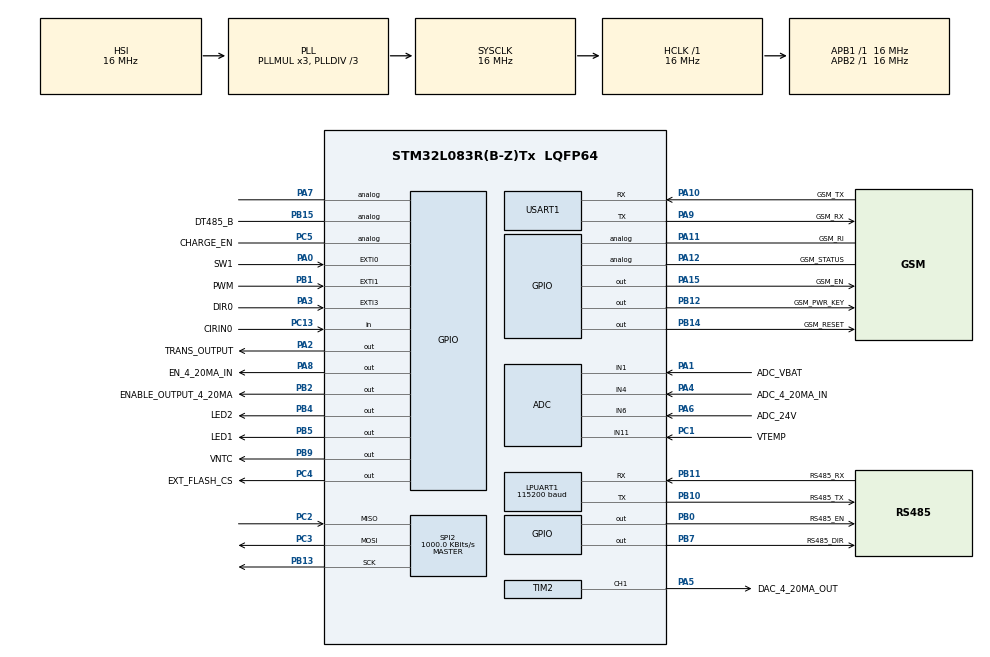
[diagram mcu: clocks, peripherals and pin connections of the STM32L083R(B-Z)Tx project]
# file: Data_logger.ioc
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ADC.ClockPrescaler=ADC_CLOCK_ASYNC_DIV10
ADC.EOCSelection=ADC_EOC_SINGLE_CONV
ADC.LowPowerAutoPowerOff=DISABLE
ADC.LowPowerFrequencyMode=ENABLE
ADC.SamplingTime=ADC_SAMPLETIME_160CYCLES_5
Dma.Request0=USART1_RX
Dma.Request1=USART1_TX
Dma.USART1_RX.0.Direction=DMA_PERIPH_TO_MEMORY
Dma.USART1_RX.0.Instance=DMA1_Channel3
Dma.USART1_RX.0.MemDataAlignment=DMA_MDATAALIGN_BYTE
Dma.USART1_RX.0.MemInc=DMA_MINC_ENABLE
Dma.USART1_RX.0.Mode=DMA_CIRCULAR
Dma.USART1_RX.0.PeriphDataAlignment=DMA_PDATAALIGN_BYTE
Dma.USART1_RX.0.PeriphInc=DMA_PINC_DISABLE
Dma.USART1_RX.0.Priority=DMA_PRIORITY_HIGH
Dma.USART1_TX.1.Direction=DMA_MEMORY_TO_PERIPH
Dma.USART1_TX.1.Instance=DMA1_Channel2
Dma.USART1_TX.1.MemDataAlignment=DMA_MDATAALIGN_BYTE
Dma.USART1_TX.1.MemInc=DMA_MINC_ENABLE
Dma.USART1_TX.1.Mode=DMA_NORMAL
Dma.USART1_TX.1.PeriphDataAlignment=DMA_PDATAALIGN_BYTE
Dma.USART1_TX.1.PeriphInc=DMA_PINC_DISABLE
Dma.USART1_TX.1.Priority=DMA_PRIORITY_HIGH
IWDG.Prescaler=IWDG_PRESCALER_256
LPUART1.BaudRate=115200
LPUART1.WordLength=UART_WORDLENGTH_8B
Mcu.Family=STM32L0
Mcu.Name=STM32L083R(B-Z)Tx
Mcu.Package=LQFP64
NVIC.ADC1_COMP_IRQn=true\:0\:0\:false\:false\:true\:true\:true
NVIC.AES_RNG_LPUART1_IRQn=true\:0\:0\:false\:false\:true\:true\:true
NVIC.DMA1_Channel2_3_IRQn=true\:0\:0\:false\:false\:true\:false\:true
NVIC.EXTI0_1_IRQn=true\:0\:0\:false\:false\:true\:true\:true
NVIC.EXTI2_3_IRQn=true\:0\:0\:false\:false\:true\:true\:true
NVIC.RTC_IRQn=true\:0\:0\:false\:false\:true\:true\:true
NVIC.SPI2_IRQn=true\:0\:0\:false\:false\:true\:true\:true
NVIC.USART1_IRQn=true\:0\:0\:false\:false\:true\:true\:true
PA0.GPIO_Label=SW1
PA0.Signal=GPXTI0
PA1.GPIO_Label=ADC_VBAT
PA1.Mode=IN1
PA1.Signal=ADC_IN1
PA10.GPIO_Label=GSM_TX
PA10.Mode=Asynchronous
PA10.Signal=USART1_RX
PA11.GPIO_Label=GSM_RI
PA11.Signal=GPIO_Analog
PA12.GPIO_Label=GSM_STATUS
PA12.Signal=GPIO_Analog
PA13.Mode=Serial_Wire
PA13.Signal=SYS_SWDIO
PA14.Mode=Serial_Wire
PA14.Signal=SYS_SWCLK
PA15.GPIO_Label=GSM_EN
PA15.Signal=GPIO_Output
PA2.GPIO_Label=TRANS_OUTPUT
PA2.Signal=GPIO_Output
PA3.GPIO_Label=DIR0
PA3.GPIO_ModeDefaultEXTI=GPIO_MODE_IT_RISING_FALLING
PA3.GPIO_PuPd=GPIO_NOPULL
PA3.Signal=GPXTI3
PA4.GPIO_Label=ADC_4_20MA_IN
PA4.Signal=SharedAnalog_PA4
PA5.GPIO_Label=DAC_4_20MA_OUT
PA5.Signal=S_TIM2_CH1
PA6.GPIO_Label=ADC_24V
PA6.Signal=SharedAnalog_PA6
PA7.Signal=GPIO_Analog
PA8.GPIO_Label=EN_4_20MA_IN
PA8.PinState=GPIO_PIN_SET
PA8.Signal=GPIO_Output
PA9.GPIO_Label=GSM_RX
PA9.Mode=Asynchronous
PA9.Signal=USART1_TX
PB0.GPIO_Label=RS485_EN
PB0.Signal=GPIO_Output
PB1.GPIO_Label=PWM
PB1.GPIO_ModeDefaultEXTI=GPIO_MODE_IT_RISING_FALLING
PB1.Signal=GPXTI1
PB10.GPIO_Label=RS485_TX
PB10.Mode=Asynchronous
PB10.Signal=LPUART1_TX
PB11.GPIO_Label=RS485_RX
PB11.Mode=Asynchronous
PB11.Signal=LPUART1_RX
PB12.GPIO_Label=GSM_PWR_KEY
PB12.Signal=GPIO_Output
PB13.Mode=Full_Duplex_Master
PB13.Signal=SPI2_SCK
PB14.GPIO_Label=GSM_RESET
PB14.Signal=GPIO_Output
PB15.GPIO_Label=DT485_B
PB15.Signal=GPIO_Analog
PB2.GPIO_Label=ENABLE_OUTPUT_4_20MA
PB2.Signal=GPIO_Output
PB4.GPIO_Label=LED2
PB4.Signal=GPIO_Output
PB5.GPIO_Label=LED1
PB5.Signal=GPIO_Output
PB7.GPIO_Label=RS485_DIR
PB7.Signal=GPIO_Output
PB9.GPIO_Label=VNTC
PB9.GPIO_PuPd=GPIO_PULLDOWN
PB9.Signal=GPIO_Output
PC1.GPIO_Label=VTEMP
PC1.Mode=IN11
PC1.Signal=ADC_IN11
PC13.GPIO_Label=CIRIN0
PC13.Signal=GPIO_Input
PC14-OSC32_IN.Mode=LSE-External-Oscillator
PC14-OSC32_IN.Signal=RCC_OSC32_IN
PC15-OSC32_OUT.Mode=LSE-External-Oscillator
PC15-OSC32_OUT.Signal=RCC_OSC32_OUT
PC2.Mode=Full_Duplex_Master
PC2.Signal=SPI2_MISO
PC3.Mode=Full_Duplex_Master
PC3.Signal=SPI2_MOSI
PC4.GPIO_Label=EXT_FLASH_CS
PC4.GPIO_PuPd=GPIO_NOPULL
PC4.GPIO_Speed=GPIO_SPEED_FREQ_VERY_HIGH
PC4.PinState=GPIO_PIN_SET
PC4.Signal=GPIO_Output
PC5.GPIO_Label=CHARGE_EN
PC5.Signal=GPIO_Analog
ProjectManager.HeapSize=0x200
ProjectManager.StackSize=0x400
ProjectManager.TargetToolchain=MDK-ARM V5.27
RCC.AHBFreq_Value=16000000
RCC.APB1Freq_Value=16000000
RCC.APB1TimFreq_Value=16000000
RCC.APB2Freq_Value=16000000
RCC.APB2TimFreq_Value=16000000
RCC.HCLKFreq_Value=16000000
RCC.HSE_VALUE=8000000
RCC.HSI16_VALUE=16000000
RCC.HSI48_VALUE=48000000
RCC.HSI_VALUE=16000000
RCC.MSIClockRange=RCC_MSIRANGE_6
RCC.MSI_VALUE=4194000
RCC.PLLDIV=RCC_PLLDIV_3
RCC.RTCClockSelectionVirtual=RCC_RTCCLKSOURCE_LSE
RCC.SYSCLKFreq_VALUE=16000000
RCC.SYSCLKSource=RCC_SYSCLKSOURCE_PLLCLK
RCC.VCOOutputFreq_Value=48000000
RTC.SynchPrediv=255
RTC.WakeUpClock-WakeUp=RTC_WAKEUPCLOCK_RTCCLK_DIV16
RTC.WakeUpCounter-WakeUp=18
SH.S_TIM2_CH1.0=TIM2_CH1,PWM Generation1 CH1
SH.SharedAnalog_PA4.0=GPIO_Analog
SH.SharedAnalog_PA4.1=ADC_IN4,IN4
SH.SharedAnalog_PA6.0=GPIO_Analog
SH.SharedAnalog_PA6.1=ADC_IN6,IN6
SPI2.BaudRatePrescaler=SPI_BAUDRATEPRESCALER_16
SPI2.CalculateBaudRate=1000.0 KBits/s
SPI2.Direction=SPI_DIRECTION_2LINES
SPI2.Mode=SPI_MODE_MASTER
SPI2.VirtualType=VM_MASTER
TIM2.AutoReloadPreload=TIM_AUTORELOAD_PRELOAD_ENABLE
TIM2.Channel-PWM\ Generation1\ CH1=TIM_CHANNEL_1
TIM2.ClockDivision=TIM_CLOCKDIVISION_DIV1
TIM2.Period=4095
TIM2.Prescaler=1
TIM2.Pulse-PWM\ Generation1\ CH1=0
USART1.VirtualMode-Asynchronous=VM_ASYNC
VP_ADC_TempSens_Input.Mode=IN-TempSens
VP_ADC_Vref_Input.Mode=IN-Vrefint
VP_IWDG_VS_IWDG.Mode=IWDG_Activate
VP_RTC_VS_RTC_Activate.Mode=RTC_Enabled
VP_RTC_VS_RTC_Calendar.Mode=RTC_Calendar
VP_RTC_VS_RTC_WakeUp_intern.Mode=WakeUp
VP_TIM2_VS_ClockSourceINT.Mode=Internal
board=custom

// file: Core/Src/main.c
/* USER CODE BEGIN Header */
/**
  ******************************************************************************
  * @file           : main.c
  * @brief          : Main program body
  ******************************************************************************
  * @attention
  *
  * <h2><center>&copy; Copyright (c) 2021 STMicroelectronics.
  * All rights reserved.</center></h2>
  *
  * This software component is licensed by ST under BSD 3-Clause license,
  * the "License"; You may not use this file except in compliance with the
  * License. You may obtain a copy of the License at:
  *                        opensource.org/licenses/BSD-3-Clause
  *
  ******************************************************************************
  */
/* USER CODE END Header */
#include "main.h"
#include "adc.h"
#include "dma.h"
#include "iwdg.h"
#include "usart.h"
#include "rtc.h"
#include "spi.h"
#include "tim.h"
#include "gpio.h"

/* USER CODE BEGIN Includes */
#include "app_eeprom.h"
#include "measure_input.h"
#include "lpf.h"
#include "stdbool.h"
#include "app_cli.h"
#include "app_wdt.h"
#include "app_sync.h"
#include "hardware_manager.h"
#include "app_bkup.h"
#include "control_output.h"
#include "gsm.h"
#include "hardware.h"
#include "modbus_master.h"
#include "string.h"
#include "sys_ctx.h"
#include "app_rtc.h"
#include "app_debug.h"
#include "app_spi_flash.h"
#include "ota_update.h"
#include "flash_if.h"
#include "version_control.h"
/* USER CODE END Includes */

/* USER CODE BEGIN PTD */
#define WAKEUP_RESET_WDT_IN_LOW_POWER_MODE            20000     // ( ~18s)
#define DEBUG_LOW_POWER                                 0
#define DISABLE_GPIO_ENTER_LOW_POWER_MODE               0
#define TEST_POWER_ALWAYS_TURN_OFF_GSM                  0
#define TEST_OUTPUT_4_20MA                              0
/* USER CODE END PTD */

/* USER CODE BEGIN PD */
#define GSM_ENABLE					1
/* USER CODE END PD */

void SystemClock_Config(void);

/* USER CODE BEGIN 0 */
/* memory for ummalloc */
uint8_t g_umm_heap[UMM_MALLOC_CFG_HEAP_SIZE];
static volatile uint32_t m_delay_afer_wakeup_from_deep_sleep_to_measure_data;
static void task_feed_wdt(void *arg);
static void gsm_mnr_task(void *arg);
static void info_task(void *arg);
volatile uint32_t led_blink_delay = 0;
void sys_config_low_power_mode(void);
#warning "Please handle sensor msg full"
/* USER CODE END 0 */

int main(void)
{
  /* USER CODE BEGIN 1 */

	hardware_manager_get_reset_reason();
  /* USER CODE END 1 */

  /* MCU Configuration--------------------------------------------------------*/

  /* Reset of all peripherals, Initializes the Flash interface and the Systick. */
  HAL_Init();

  /* Configure the system clock */
  SystemClock_Config();

  /* USER CODE BEGIN SysInit */
    __enable_irq();
#if 1
  /* USER CODE END SysInit */

  /* Initialize all configured peripherals */
  MX_GPIO_Init();
  MX_DMA_Init();
  MX_IWDG_Init();
  MX_RTC_Init();
  MX_ADC_Init();
  MX_USART1_UART_Init();
  MX_LPUART1_UART_Init();
  MX_SPI2_Init();
  MX_TIM2_Init();
  /* USER CODE BEGIN 2 */
#endif
//	HAL_ADC
    __HAL_DBGMCU_FREEZE_IWDG();     // stop watchdog in debug mode

	DEBUG_RAW(RTT_CTRL_CLEAR);
    sys_ctx_t *system = sys_ctx();
    system->peripheral_running.name.flash_running = 1;
    system->peripheral_running.name.rs485_running = 1;
	app_cli_start();
	app_bkup_init();
    app_eeprom_init();
    app_spi_flash_initialize();
	measure_input_initialize();
	control_ouput_init();
	adc_start();
	gsm_init_hw();

	app_sync_config_t config;
	config.get_ms = sys_get_ms;
	config.polling_interval_ms = 1;
	app_sync_sytem_init(&config);

	app_sync_register_callback(task_feed_wdt, 15000, SYNC_DRV_REPEATED, SYNC_DRV_SCOPE_IN_LOOP);
	app_sync_register_callback(gsm_mnr_task, 1000, SYNC_DRV_REPEATED, SYNC_DRV_SCOPE_IN_LOOP);
	app_sync_register_callback(info_task, 1000, SYNC_DRV_REPEATED, SYNC_DRV_SCOPE_IN_LOOP);
	app_eeprom_config_data_t *cfg = app_eeprom_read_config_data();

    ota_flash_cfg_t *ota_cfg = ota_update_get_config();
#if TEST_OUTPUT_4_20MA
	cfg->io_enable.name.output_4_20ma_enable = 1;
	cfg->io_enable.name.output_4_20ma_value = 10;
	cfg->io_enable.name.output_4_20ma_timeout_100ms = 100;
	control_output_dac_enable(1000000);
    system->status.is_enter_test_mode = 1;
    cfg->io_enable.name.input_4_20ma_enable = 1;
#endif
    DEBUG_PRINTF("Build %s %s, version %s\r\nOTA flag 0x%08X, info %s\r\n", __DATE__, __TIME__,
                                                                            VERSION_CONTROL_FW,
                                                                            ota_cfg->flag, (uint8_t*)ota_cfg->reserve);
  LED1(1);
  /* USER CODE END 2 */

  /* Infinite loop */
  /* USER CODE BEGIN WHILE */
  while (1)
  {
#if GSM_ENABLE
	gsm_hw_layer_run();
#endif

#if TEST_POWER_ALWAYS_TURN_OFF_GSM
    if (!gsm_data_layer_is_module_sleeping())
    {
        gsm_change_state(GSM_STATE_SLEEP);
    }
#endif
	control_ouput_task();
	measure_input_task();
	app_cli_poll();
	app_sync_polling_task();
	if (led_blink_delay)
	{
		LED1(1);
		LED2(1);
	}
	else
	{
		LED1(0);
		LED2(0);
	}

	if (system->status.is_enter_test_mode)
	{
		cfg->io_enable.name.output_4_20ma_enable = 1;
		if (cfg->io_enable.name.output_4_20ma_value == 0)
			cfg->io_enable.name.output_4_20ma_value = 10;
		cfg->io_enable.name.output_4_20ma_timeout_100ms = 100;
		control_output_dac_enable(1000000);
		cfg->io_enable.name.rs485_en = 1;
		ENABLE_INOUT_4_20MA_POWER(1);
	}

    if (!cfg->io_enable.name.rs485_en)
    {
        system->peripheral_running.name.rs485_running = 0;
        usart_lpusart_485_control(0);
    }

    if (!cfg->io_enable.name.input_4_20ma_enable)
    {
        ENABLE_INOUT_4_20MA_POWER(0);
    }

    if (gsm_data_layer_is_module_sleeping())
    {
        system->peripheral_running.name.gsm_running = 0;
        if (system->peripheral_running.name.flash_running)
        {
            app_spi_flash_shutdown();
            spi_deinit();
            system->peripheral_running.name.flash_running = 0;
        }

        usart1_control(false);
        GSM_PWR_EN(0);
        GSM_PWR_RESET(0);
        GSM_PWR_KEY(0);
    }
    else
    {
        system->peripheral_running.name.gsm_running = 1;
    }

    if (ota_update_is_running())
    {
        system->status.sleep_time_s = 0;
        system->status.disconnect_timeout_s = 0;
    }

	if (cfg->io_enable.name.rs485_en)
	{
		RS485_EN(cfg->io_enable.name.rs485_en);
	}

    if (system->peripheral_running.value == 0)
    {
        adc_stop();
        if (system->status.is_enter_test_mode == 0)
        {
            sys_config_low_power_mode();
        }
    }

//	__WFI();
    /* USER CODE END WHILE */

  }
}

void SystemClock_Config(void)
{
  RCC_OscInitTypeDef RCC_OscInitStruct = {0};
  RCC_ClkInitTypeDef RCC_ClkInitStruct = {0};
  RCC_PeriphCLKInitTypeDef PeriphClkInit = {0};

  /** Configure the main internal regulator output voltage
  */
  __HAL_PWR_VOLTAGESCALING_CONFIG(PWR_REGULATOR_VOLTAGE_SCALE1);
  /** Configure LSE Drive Capability
  */
  HAL_PWR_EnableBkUpAccess();
  __HAL_RCC_LSEDRIVE_CONFIG(RCC_LSEDRIVE_LOW);
  /** Initializes the RCC Oscillators according to the specified parameters
  * in the RCC_OscInitTypeDef structure.
  */
  RCC_OscInitStruct.OscillatorType = RCC_OSCILLATORTYPE_HSI|RCC_OSCILLATORTYPE_LSI
                              |RCC_OSCILLATORTYPE_LSE;
  RCC_OscInitStruct.LSEState = RCC_LSE_ON;
  RCC_OscInitStruct.HSIState = RCC_HSI_ON;
  RCC_OscInitStruct.HSICalibrationValue = RCC_HSICALIBRATION_DEFAULT;
  RCC_OscInitStruct.LSIState = RCC_LSI_ON;
  RCC_OscInitStruct.PLL.PLLState = RCC_PLL_ON;
  RCC_OscInitStruct.PLL.PLLSource = RCC_PLLSOURCE_HSI;
  RCC_OscInitStruct.PLL.PLLMUL = RCC_PLLMUL_3;
  RCC_OscInitStruct.PLL.PLLDIV = RCC_PLLDIV_3;
  if (HAL_RCC_OscConfig(&RCC_OscInitStruct) != HAL_OK)
  {
    Error_Handler();
  }
  /** Initializes the CPU, AHB and APB buses clocks
  */
  RCC_ClkInitStruct.ClockType = RCC_CLOCKTYPE_HCLK|RCC_CLOCKTYPE_SYSCLK
                              |RCC_CLOCKTYPE_PCLK1|RCC_CLOCKTYPE_PCLK2;
  RCC_ClkInitStruct.SYSCLKSource = RCC_SYSCLKSOURCE_PLLCLK;
  RCC_ClkInitStruct.AHBCLKDivider = RCC_SYSCLK_DIV1;
  RCC_ClkInitStruct.APB1CLKDivider = RCC_HCLK_DIV1;
  RCC_ClkInitStruct.APB2CLKDivider = RCC_HCLK_DIV1;

  if (HAL_RCC_ClockConfig(&RCC_ClkInitStruct, FLASH_LATENCY_0) != HAL_OK)
  {
    Error_Handler();
  }
  PeriphClkInit.PeriphClockSelection = RCC_PERIPHCLK_USART1|RCC_PERIPHCLK_LPUART1
                              |RCC_PERIPHCLK_RTC;
  PeriphClkInit.Usart1ClockSelection = RCC_USART1CLKSOURCE_PCLK2;
  PeriphClkInit.Lpuart1ClockSelection = RCC_LPUART1CLKSOURCE_PCLK1;
  PeriphClkInit.RTCClockSelection = RCC_RTCCLKSOURCE_LSE;
  if (HAL_RCCEx_PeriphCLKConfig(&PeriphClkInit) != HAL_OK)
  {
    Error_Handler();
  }
}

/* USER CODE BEGIN 4 */

uint32_t sys_get_ms()
{
	return HAL_GetTick();
}

void sys_delay_ms(uint32_t ms)
{
	uint32_t current_tick = HAL_GetTick();

	while (1)
	{
#ifdef WDT_ENABLE
        LL_IWDG_ReloadCounter(IWDG);
#endif
//		__WFI();
		if (HAL_GetTick() - current_tick >= (uint32_t)ms)
		{
			break;
		}
	}
}

static void task_feed_wdt(void *arg)
{
#ifdef WDT_ENABLE
	LL_IWDG_ReloadCounter(IWDG);
#endif
}

static void gsm_mnr_task(void *arg)
{
	gsm_manager_tick();
    sys_ctx_t *ctx = sys_ctx();
    if (gsm_data_layer_is_module_sleeping())
    {
        ctx->status.sleep_time_s++;
        ctx->status.disconnect_timeout_s = 0;
    }
    else
    {
        ctx->status.disconnect_timeout_s++;
    }
}

static void info_task(void *arg)
{
	static uint32_t i = 0;
    sys_ctx_t *system = sys_ctx();

	if (system->status.is_enter_test_mode)
	{
		char buf[48];
		sprintf(buf, "%u\r\n", sys_get_ms());
		RS485_EN(1);
        RS485_DIR_RX();
        i = 5;
//		Modbus_Master_Write((uint8_t*)buf, strlen(buf));
	}
    if (i++ >= 5)
	{
		i = 0;
		adc_input_value_t *adc = adc_get_input_result();
        rtc_date_time_t time;
        app_rtc_get_time(&time);
        uint32_t clk = HAL_RCC_GetSysClockFreq() / 1000000;
		DEBUG_PRINTF("CLK %uMhz, bat_mv %u-%u%, vin-24 %umV, 4-20mA in %u.%u, temp %u\r\n",
                    clk,
					adc->bat_mv, adc->bat_percent,
					adc->vin_24,
					adc->in_4_20ma_in[0]/10, adc->in_4_20ma_in[0]%10,
					adc->temp);
	}
}

void sys_turn_on_led(uint32_t delay_ms)
{
    led_blink_delay = delay_ms;
}

static bool m_wakeup_timer_run = false;
void sys_config_low_power_mode(void)
{
    // estimate RTC wakeup time
    if (m_wakeup_timer_run == false)
    {
        sys_ctx_t *ctx = sys_ctx();

#if DEBUG_LOW_POWER
        __DBGMCU_CLK_ENABLE() ; // (RCC->APB2ENR |= (RCC_APB2ENR_DBGMCUEN))
        HAL_EnableDBGStopMode();  //  SET_BIT(DBGMCU->CR, DBGMCU_CR_DBG_STOP);
#endif

#ifdef WDT_ENABLE
	LL_IWDG_ReloadCounter(IWDG);
#endif

        uint32_t counter_before_sleep = app_rtc_get_counter();
        DEBUG_VERBOSE("Before sleep - counter %u\r\n", counter_before_sleep);
        HAL_RTCEx_DeactivateWakeUpTimer(&hrtc);
        if (HAL_RTCEx_SetWakeUpTimer_IT(&hrtc, WAKEUP_RESET_WDT_IN_LOW_POWER_MODE, RTC_WAKEUPCLOCK_RTCCLK_DIV16) != HAL_OK)
        {
            Error_Handler();
        }
        __HAL_PWR_CLEAR_FLAG(PWR_FLAG_WU);

        /* Disable GPIOs clock */
        LL_IOP_GRP1_DisableClock(LL_IOP_GRP1_PERIPH_GPIOA);
        LL_IOP_GRP1_DisableClock(LL_IOP_GRP1_PERIPH_GPIOB);
        LL_IOP_GRP1_DisableClock(LL_IOP_GRP1_PERIPH_GPIOC);
        LL_IOP_GRP1_DisableClock(LL_IOP_GRP1_PERIPH_GPIOH);

        HAL_SuspendTick();

//          GPIO_InitTypeDef GPIO_InitStructure;
        __HAL_RCC_PWR_CLK_ENABLE();

        /* Enable Ultra low power mode */
        HAL_PWREx_EnableUltraLowPower();

        /* Enable the fast wake up from Ultra low power mode */
        HAL_PWREx_EnableFastWakeUp();

        /* Select MSI as system clock source after Wake Up from Stop mode */
        __HAL_RCC_WAKEUPSTOP_CLK_CONFIG(RCC_STOP_WAKEUPCLOCK_MSI);

          /* Enter Stop Mode */
        HAL_PWR_EnterSTOPMode(PWR_LOWPOWERREGULATOR_ON, PWR_STOPENTRY_WFI);

        __HAL_PWR_CLEAR_FLAG(PWR_FLAG_WU);

#if 1
        /* Enable GPIOs clock */
        LL_IOP_GRP1_EnableClock(LL_IOP_GRP1_PERIPH_GPIOA);
        LL_IOP_GRP1_EnableClock(LL_IOP_GRP1_PERIPH_GPIOB);
        LL_IOP_GRP1_EnableClock(LL_IOP_GRP1_PERIPH_GPIOC);
        LL_IOP_GRP1_EnableClock(LL_IOP_GRP1_PERIPH_GPIOH);
#endif
        uint32_t counter_after_sleep = app_rtc_get_counter();
        uint32_t diff = counter_after_sleep-counter_before_sleep;
        uwTick += diff*1000;
        DEBUG_VERBOSE("Afer sleep - counter %u, diff %u\r\n", counter_after_sleep, diff);

        ctx->status.sleep_time_s += diff;
        HAL_RTCEx_DeactivateWakeUpTimer(&hrtc);
        m_wakeup_timer_run = false;
        DEBUG_PRINTF("Wake, sleep time %us\r\n", ctx->status.sleep_time_s);
        HAL_ResumeTick();
        SystemClock_Config();
#ifdef WDT_ENABLE
        LL_IWDG_ReloadCounter(IWDG);
#endif
    }
    else
    {
        DEBUG_PRINTF("RTC timer still running\r\n");
    }
}

void HAL_RTCEx_WakeUpTimerEventCallback(RTC_HandleTypeDef *hrtc)
{
    m_wakeup_timer_run = false;
    DEBUG_INFO("Wakeup timer event callback\r\n");
    __HAL_PWR_CLEAR_FLAG(PWR_FLAG_WU);
}
/* USER CODE END 4 */

void Error_Handler(void)
{
  /* USER CODE BEGIN Error_Handler_Debug */
    DEBUG_ERROR("Error handle\r\n");
    NVIC_SystemReset();
  __disable_irq();
  while (1)
  {
  }
  /* USER CODE END Error_Handler_Debug */
}

#ifdef  USE_FULL_ASSERT
/**
  * @brief  Reports the name of the source file and the source line number
  *         where the assert_param error has occurred.
  * @param  file: pointer to the source file name
  * @param  line: assert_param error line source number
  * @retval None
  */
void assert_failed(uint8_t *file, uint32_t line)
{
  /* USER CODE BEGIN 6 */
  /* User can add his own implementation to report the file name and line number,
     ex: printf("Wrong parameters value: file %s on line %d\r\n", file, line) */
	DEBUG_ERROR("Assert failed %s, line %u\r\n", file, line);
    NVIC_SystemReset();
	while (1);
  /* USER CODE END 6 */
}
#endif /* USE_FULL_ASSERT */

/************************ (C) COPYRIGHT STMicroelectronics *****END OF FILE****/
